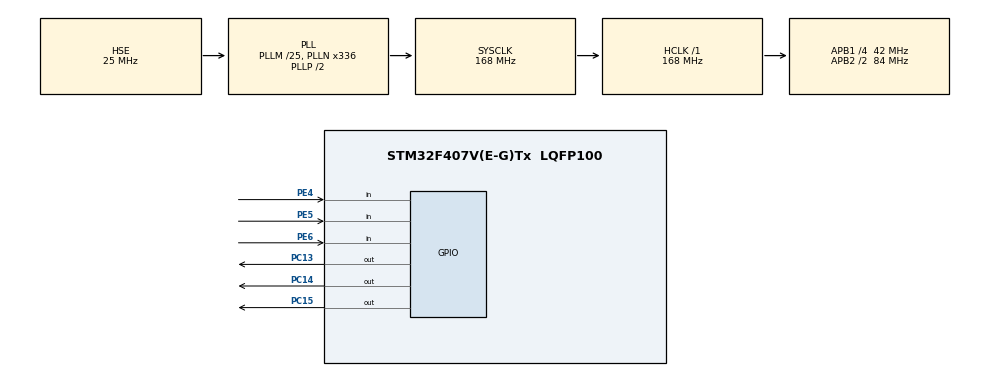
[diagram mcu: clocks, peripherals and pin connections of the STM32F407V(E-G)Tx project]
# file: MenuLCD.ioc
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Mcu.Family=STM32F4
Mcu.Name=STM32F407V(E-G)Tx
Mcu.Package=LQFP100
NVIC.PriorityGroup=NVIC_PRIORITYGROUP_4
PC13-ANTI_TAMP.Signal=GPIO_Output
PC14-OSC32_IN.Signal=GPIO_Output
PC15-OSC32_OUT.Signal=GPIO_Output
PE4.GPIO_PuPd=GPIO_PULLUP
PE4.Signal=GPIO_Input
PE5.GPIO_PuPd=GPIO_PULLUP
PE5.Signal=GPIO_Input
PE6.GPIO_PuPd=GPIO_PULLUP
PE6.Signal=GPIO_Input
PH0-OSC_IN.Mode=HSE-External-Oscillator
PH0-OSC_IN.Signal=RCC_OSC_IN
PH1-OSC_OUT.Mode=HSE-External-Oscillator
PH1-OSC_OUT.Signal=RCC_OSC_OUT
ProjectManager.HeapSize=0x200
ProjectManager.StackSize=0x400
ProjectManager.TargetToolchain=MDK-ARM V5.32
RCC.48MHZClocksFreq_Value=84000000
RCC.AHBFreq_Value=168000000
RCC.APB1CLKDivider=RCC_HCLK_DIV4
RCC.APB1Freq_Value=42000000
RCC.APB1TimFreq_Value=84000000
RCC.APB2CLKDivider=RCC_HCLK_DIV2
RCC.APB2Freq_Value=84000000
RCC.APB2TimFreq_Value=168000000
RCC.CortexFreq_Value=168000000
RCC.HCLKFreq_Value=168000000
RCC.HSE_VALUE=25000000
RCC.HSI_VALUE=16000000
RCC.LSE_VALUE=32768
RCC.PLLM=25
RCC.PLLN=336
RCC.PLLSourceVirtual=RCC_PLLSOURCE_HSE
RCC.SYSCLKFreq_VALUE=168000000
RCC.SYSCLKSource=RCC_SYSCLKSOURCE_PLLCLK
RCC.VCOOutputFreq_Value=336000000
board=custom

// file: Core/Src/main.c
/* USER CODE BEGIN Header */
/**
  ******************************************************************************
  * @file           : main.c
  * @brief          : Main program body
  ******************************************************************************
  * @attention
  *
  * Copyright (c) 2024 STMicroelectronics.
  * All rights reserved.
  *
  * This software is licensed under terms that can be found in the LICENSE file
  * in the root directory of this software component.
  * If no LICENSE file comes with this software, it is provided AS-IS.
  *
  ******************************************************************************
  */
/* USER CODE END Header */
#include "main.h"

/* USER CODE BEGIN Includes */
#include "ALCD.h"
#include <stdio.h>
/* USER CODE END Includes */

/* USER CODE BEGIN PD */
// -------- Q4.part1 / Menu --------
#define ITEMS_NUMBER 4

/* USER CODE END PD */

void SystemClock_Config(void);
static void MX_GPIO_Init(void);

/* USER CODE BEGIN 0 */
// -------- Q4.part2 / Menu --------
int Down(int limit, int *selected_item, int *next_item)
{
    // add to selected_item and its next_item
    (*selected_item)++;
    (*next_item) = (*selected_item)+1;

    // if selected_item reach the end of the list, reset it
    if ((*selected_item) == limit)
		{
        (*selected_item) = 0;
				(*next_item) = 1;
		}

    // if next_item reach the end, start over
    if ((*next_item) == limit)
       (*next_item) = 0;

    return (*selected_item);
}

int Up(int limit, int *selected_item, int *next_item)
{
    // reduce from selected_item and make its next_item
    (*selected_item)--;
    (*next_item) = (*selected_item)+1;

    // if selected_item reach the end of the list, reset it
    if ((*selected_item) == -1)
       (*selected_item) = limit - 1;

    // if next_item reach the end, start over
    if ((*next_item) == limit)
        (*next_item) = 0;

    return (*selected_item);
}
/* USER CODE END 0 */

int main(void)
{
  /* USER CODE BEGIN 1 */
  // -------- Q1-2-3-4 / initial the ALCD --------
  ALCD_init(16, 2);
  /* USER CODE END 1 */

  /* MCU Configuration--------------------------------------------------------*/

  /* Reset of all peripherals, Initializes the Flash interface and the Systick. */
  HAL_Init();

  /* Configure the system clock */
  SystemClock_Config();

  /* Initialize all configured peripherals */
  MX_GPIO_Init();
  /* USER CODE BEGIN 2 */
    // -------- Q4.part3 / LED State (Shift) --------
    ALCD_clear();
    ALCD_printfXY(3, 0, "Welcome To");
    ALCD_printfXY(3, 1, "Keylogger!");
    HAL_Delay(2000);
    ALCD_clear();
    ALCD_printfXY(0, 0, "Please select");
    ALCD_printfXY(0, 1, "from menu:");
    HAL_Delay(2000);
    ALCD_clear();
  /* USER CODE END 2 */

  /* Infinite loop */
  /* USER CODE BEGIN WHILE */
	    // -------- Q4.part4 / Library --------
	 int selected_item = 0;
	 int next_item = selected_item + 1;

	 int menu_state = 1;
   int sign_position = 1;

	 char* items[ITEMS_NUMBER] = {"Clock", "Setting", "Active Peripheral", "Shutdown"};

   char* values[ITEMS_NUMBER] = {"SubitemClock", "SubitemSetting", "SubitemPreph", "Subitemstate"};

	 ALCD_printfXY(0, 0, ">%s", items[0]);
	 ALCD_printfXY(0, 1, " %s", items[1]);

  while (1)
  {
    /* USER CODE END WHILE */

    /* USER CODE BEGIN 3 */
		 if (HAL_GPIO_ReadPin(GPIOE, GPIO_PIN_5) == 0) // Down
			  {
			  		// sign_position == 1 >> up
			  		// sign_position == 0 >> down

			  		ALCD_clear();

			  		if (sign_position)
			  		{
			  				ALCD_printfXY(0, 0, " %s", items[selected_item]);
			  				ALCD_printfXY(0, 1, ">%s", items[next_item]);
			  				Down(ITEMS_NUMBER, &selected_item, &next_item);
			  		}
			  		else
			  		{
							 ALCD_printfXY(0, 0, " %s", items[Down(ITEMS_NUMBER, &selected_item, &next_item)]);
							 ALCD_printfXY(0, 1, ">%s", items[next_item]);
			  		}

			  		HAL_Delay(400);
			  }

			  if (HAL_GPIO_ReadPin(GPIOE, GPIO_PIN_4) == 0) // UP
			  {
			  		ALCD_clear();

			  		if (!sign_position)
			  		{
			  				ALCD_printfXY(0, 0, ">%s", items[selected_item]);
			  				ALCD_printfXY(0, 1, " %s", items[next_item]);
			  				Up(ITEMS_NUMBER, &selected_item, &next_item);
			  		}
			  		else
			  		{
							 ALCD_printfXY(0, 0, ">%s", items[Up(ITEMS_NUMBER, &selected_item, &next_item)]);
							 ALCD_printfXY(0, 1, " %s", items[next_item]);
			  		}

			  		HAL_Delay(400);
			  }

			  if (HAL_GPIO_ReadPin(GPIOE, GPIO_PIN_6) == 0) // Select
			  {

			  		ALCD_clear();
					 if (menu_state)
					 {
							 menu_state = 0;
							 ALCD_printfXY(0, 0, values[selected_item]);
					}

					else
					{
							 menu_state = 1;
							 ALCD_printfXY(0, 0, ">%s", items[selected_item]);
							 ALCD_printfXY(0, 1, " %s", items[next_item]);
					 }

					 HAL_Delay(400);
			  }
  }
  /* USER CODE END 3 */
}

void SystemClock_Config(void)
{
  RCC_OscInitTypeDef RCC_OscInitStruct = {0};
  RCC_ClkInitTypeDef RCC_ClkInitStruct = {0};

  /** Configure the main internal regulator output voltage
  */
  __HAL_RCC_PWR_CLK_ENABLE();
  __HAL_PWR_VOLTAGESCALING_CONFIG(PWR_REGULATOR_VOLTAGE_SCALE1);

  /** Initializes the RCC Oscillators according to the specified parameters
  * in the RCC_OscInitTypeDef structure.
  */
  RCC_OscInitStruct.OscillatorType = RCC_OSCILLATORTYPE_HSE;
  RCC_OscInitStruct.HSEState = RCC_HSE_ON;
  RCC_OscInitStruct.PLL.PLLState = RCC_PLL_ON;
  RCC_OscInitStruct.PLL.PLLSource = RCC_PLLSOURCE_HSE;
  RCC_OscInitStruct.PLL.PLLM = 25;
  RCC_OscInitStruct.PLL.PLLN = 336;
  RCC_OscInitStruct.PLL.PLLP = RCC_PLLP_DIV2;
  RCC_OscInitStruct.PLL.PLLQ = 4;
  if (HAL_RCC_OscConfig(&RCC_OscInitStruct) != HAL_OK)
  {
    Error_Handler();
  }

  /** Initializes the CPU, AHB and APB buses clocks
  */
  RCC_ClkInitStruct.ClockType = RCC_CLOCKTYPE_HCLK|RCC_CLOCKTYPE_SYSCLK
                              |RCC_CLOCKTYPE_PCLK1|RCC_CLOCKTYPE_PCLK2;
  RCC_ClkInitStruct.SYSCLKSource = RCC_SYSCLKSOURCE_PLLCLK;
  RCC_ClkInitStruct.AHBCLKDivider = RCC_SYSCLK_DIV1;
  RCC_ClkInitStruct.APB1CLKDivider = RCC_HCLK_DIV4;
  RCC_ClkInitStruct.APB2CLKDivider = RCC_HCLK_DIV2;

  if (HAL_RCC_ClockConfig(&RCC_ClkInitStruct, FLASH_LATENCY_5) != HAL_OK)
  {
    Error_Handler();
  }
}

static void MX_GPIO_Init(void)
{
  GPIO_InitTypeDef GPIO_InitStruct = {0};

  /* GPIO Ports Clock Enable */
  __HAL_RCC_GPIOE_CLK_ENABLE();
  __HAL_RCC_GPIOC_CLK_ENABLE();
  __HAL_RCC_GPIOH_CLK_ENABLE();

  /*Configure GPIO pin Output Level */
  HAL_GPIO_WritePin(GPIOC, GPIO_PIN_13|GPIO_PIN_14|GPIO_PIN_15, GPIO_PIN_RESET);

  /*Configure GPIO pins : PE4 PE5 PE6 */
  GPIO_InitStruct.Pin = GPIO_PIN_4|GPIO_PIN_5|GPIO_PIN_6;
  GPIO_InitStruct.Mode = GPIO_MODE_INPUT;
  GPIO_InitStruct.Pull = GPIO_PULLUP;
  HAL_GPIO_Init(GPIOE, &GPIO_InitStruct);

  /*Configure GPIO pins : PC13 PC14 PC15 */
  GPIO_InitStruct.Pin = GPIO_PIN_13|GPIO_PIN_14|GPIO_PIN_15;
  GPIO_InitStruct.Mode = GPIO_MODE_OUTPUT_PP;
  GPIO_InitStruct.Pull = GPIO_NOPULL;
  GPIO_InitStruct.Speed = GPIO_SPEED_FREQ_LOW;
  HAL_GPIO_Init(GPIOC, &GPIO_InitStruct);

}

void Error_Handler(void)
{
  __disable_irq();
  while (1)
  {
  }
}
